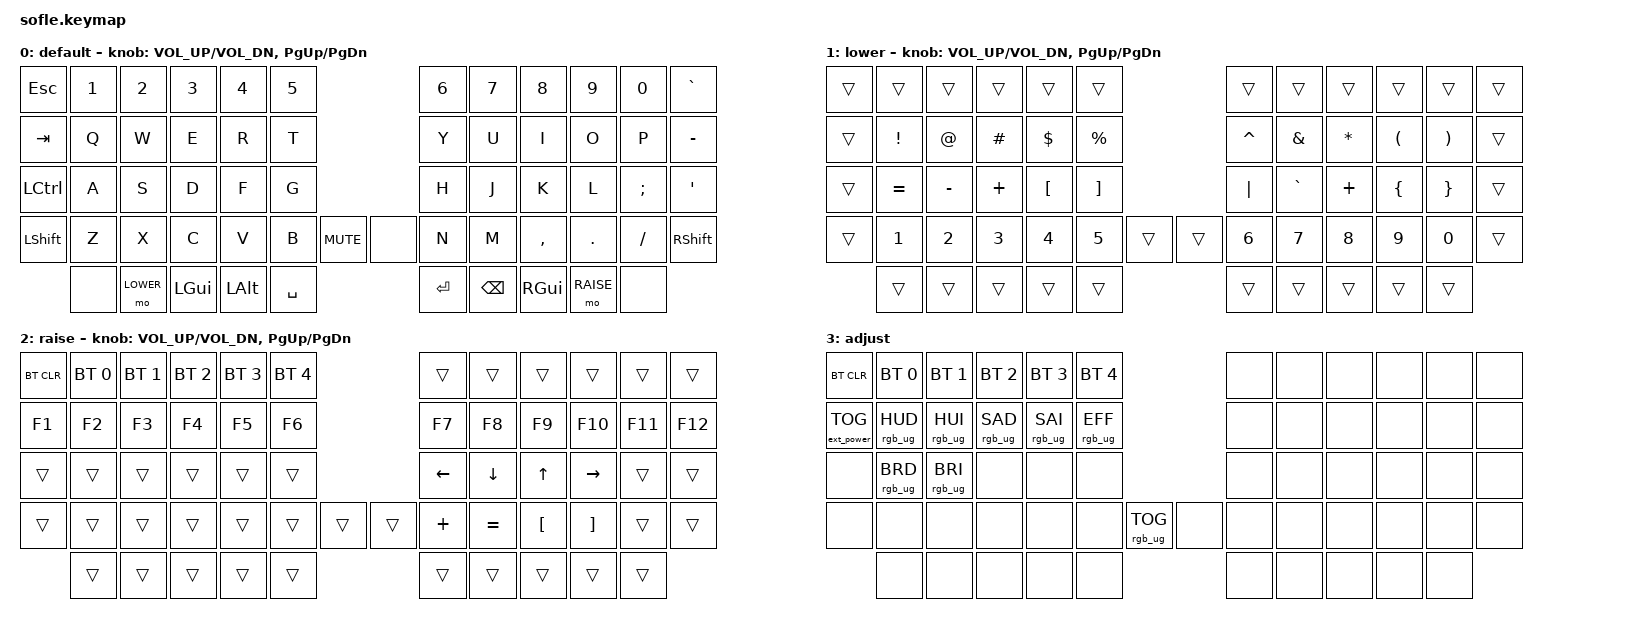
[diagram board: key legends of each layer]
/*
 * Copyright (c) 2020 The ZMK Contributors
 *
 * SPDX-License-Identifier: MIT
 */
 


#include <behaviors.dtsi>
#include <dt-bindings/zmk/keys.h>
#include <dt-bindings/zmk/bt.h>
#include <dt-bindings/zmk/rgb.h>
#include <dt-bindings/zmk/ext_power.h>

#define BASE 0
#define LOWER 1
#define RAISE 2
#define ADJUST 3

/ {

   // Activate ADJUST layer by pressing raise and lower
    conditional_layers {
        compatible = "zmk,conditional-layers";
        adjust_layer {
            if-layers = <LOWER RAISE>;
            then-layer = <ADJUST>;
        };
    };

    keymap {
        compatible = "zmk,keymap";

        default_layer {
            display-name = "default";
// ------------------------------------------------------------------------------------------------------------
// |  ESC   |  1  |  2  |   3   |  4  |   5   |                   |   6   |  7   |   8   |  9  |   0   |   `   |
// |  TAB   |  Q  |  W  |   E   |  R  |   T   |                   |   Y   |  U   |   I   |  O  |   P   |   -   |
// |  CTRL  |  A  |  S  |   D   |  F  |   G   |                   |   H   |  J   |   K   |  L  |   ;   |   '   |
// | SHIFT  |  Z  |  X  |   C   |  V  |   B   |  MUTE  |  |       |   N   |  M   |   ,   |  .  |   /   | SHIFT |
//                |     | LOWER | GUI |  ALT  |  SPACE |  | ENTER |  BKSPC  | GUI  | RAISE |     |
            bindings = <
&kp ESC   &kp N1 &kp N2 &kp N3 &kp N4 &kp N5                 &kp N6 &kp N7 &kp N8    &kp N9   &kp N0   &kp GRAVE
&kp TAB   &kp Q  &kp W  &kp E  &kp R  &kp T                  &kp Y  &kp U  &kp I     &kp O    &kp P    &kp MINUS
&kp LCTRL  &kp A  &kp S  &kp D  &kp F  &kp G                  &kp H  &kp J  &kp K     &kp L    &kp SEMI &kp SQT
&kp LSHFT &kp Z  &kp X  &kp C  &kp V  &kp B &kp C_MUTE &none &kp N  &kp M  &kp COMMA &kp DOT  &kp FSLH &kp RSHFT
          &none &mo LOWER &kp LGUI &kp LALT &kp SPACE &kp RET  &kp BSPC  &kp RGUI &mo RAISE  &none
            >;

            sensor-bindings = <&inc_dec_kp C_VOL_UP C_VOL_DN &inc_dec_kp PG_UP PG_DN>;
        };

        lower_layer {
            display-name = "lower";
// TODO: Some binds are waiting for shifted keycode support.
// ------------------------------------------------------------------------------------------------------------
// |   |     |     |      |      |      |                   |      |       |       |      |       |   |
// |   |  !  |  @  |  #   |  $   |  %   |                   |  ^   |  &    |  *    |  (   |   )   |   |
// |   |  =  |  -  |  +   |  [   |  ]   |        |  |       |  |   |  `    |  +    |  {   |   }   |   |
// |   |  1  |  2  |  3   |  4   |  5   |                   |  6   |  7    |  8    |  9   |   0   |   |
//           |     |      |      |      |        |  |       |      |       |       |      |
            bindings = <
&trans    &trans    &trans    &trans     &trans    &trans                  &trans    &trans    &trans    &trans    &trans    &trans
&trans    &kp EXCL  &kp AT    &kp HASH   &kp DLLR  &kp PRCNT               &kp CARET &kp AMPS  &kp ASTRK &kp LPAR  &kp RPAR  &trans
&trans    &kp EQUAL &kp MINUS &kp PLUS   &kp LBKT  &kp RBKT                &kp PIPE  &kp GRAVE &kp PLUS  &kp LBRC  &kp RBRC  &trans
&trans    &kp N1    &kp N2    &kp N3     &kp N4    &kp N5 &trans &trans &kp N6    &kp N7    &kp N8    &kp N9    &kp N0    &trans
                    &trans    &trans     &trans    &trans    &trans &trans  &trans    &trans   &trans    &trans
            >;
            sensor-bindings = <&inc_dec_kp C_VOL_UP C_VOL_DN &inc_dec_kp PG_UP PG_DN>;
        };

        raise_layer {
            display-name = "raise";
// ------------------------------------------------------------------------------------------------------------
// | BTCLR | BT1  | BT2  |  BT3  |  BT4  |  BT5 |                |      |      |       |      |       |       |
// |  F1   | F2   | F3   | F4    |  F5   |  F6  |                | F7   |  F8  |   F9  |  F10 |  F11  |  F12  |
// |       |      |      |       |       |      |                | <-   |   v  |   ^   |  ->  |       |       |
// |       |      |      |       |       |      |      |  |      |  +   |   =  |   [   |  ]   |   \   |       |
//                |      |       |       |      |      |  |      |      |      |       |      |
            bindings = <
&bt BT_CLR &bt BT_SEL 0 &bt BT_SEL 1 &bt BT_SEL 2 &bt BT_SEL 3 &bt BT_SEL 4                &trans   &trans    &trans   &trans    &trans  &trans
&kp F1     &kp F2       &kp F3       &kp F4       &kp F5       &kp F6                      &kp F7   &kp F8    &kp F9   &kp F10   &kp F11 &kp F12
&trans     &trans       &trans       &trans       &trans       &trans                      &kp LEFT &kp DOWN  &kp UP   &kp RIGHT &trans  &trans
&trans     &trans       &trans       &trans       &trans       &trans    &trans   &trans   &kp PLUS &kp EQUAL &kp LBKT &kp RBKT  &trans  &trans
                        &trans       &trans       &trans       &trans    &trans   &trans   &trans   &trans   &trans  &trans
            >;
            sensor-bindings = <&inc_dec_kp C_VOL_UP C_VOL_DN &inc_dec_kp PG_UP PG_DN>;
        };

        adjust_layer {
// ----------------------------------------------------------------------------------------------------------------------------
// | BTCLR  |  BT1    |  BT2    |   BT3   |   BT4   |   BT5   |                  |      |      |       |      |       |       |
// | EXTPWR | RGB_HUD | RGB_HUI | RGB_SAD | RGB_SAI | RGB_EFF |                  |      |      |       |      |       |       |
// |        | RGB_BRD | RGB_BRI |         |         |         |                  |      |      |       |      |       |       |
// |        |         |         |         |         |         | RGB_TOG | |      |      |      |       |      |       |       |
//                    |         |         |         |         |         | |      |      |      |       |      |
            display-name = "adjust";
            bindings = <
&bt BT_CLR        &bt BT_SEL 0    &bt BT_SEL 1    &bt BT_SEL 2    &bt BT_SEL 3    &bt BT_SEL 4                            &none &none &none &none &none &none
&ext_power EP_TOG &rgb_ug RGB_HUD &rgb_ug RGB_HUI &rgb_ug RGB_SAD &rgb_ug RGB_SAI &rgb_ug RGB_EFF                         &none &none &none &none &none &none
&none             &rgb_ug RGB_BRD &rgb_ug RGB_BRI &none           &none           &none                                   &none &none &none &none &none &none
&none             &none           &none           &none           &none           &none            &rgb_ug RGB_TOG &none  &none &none &none &none &none &none
                                  &none           &none           &none           &none            &none           &none  &none &none &none &none
            >;
        };

    };
};
